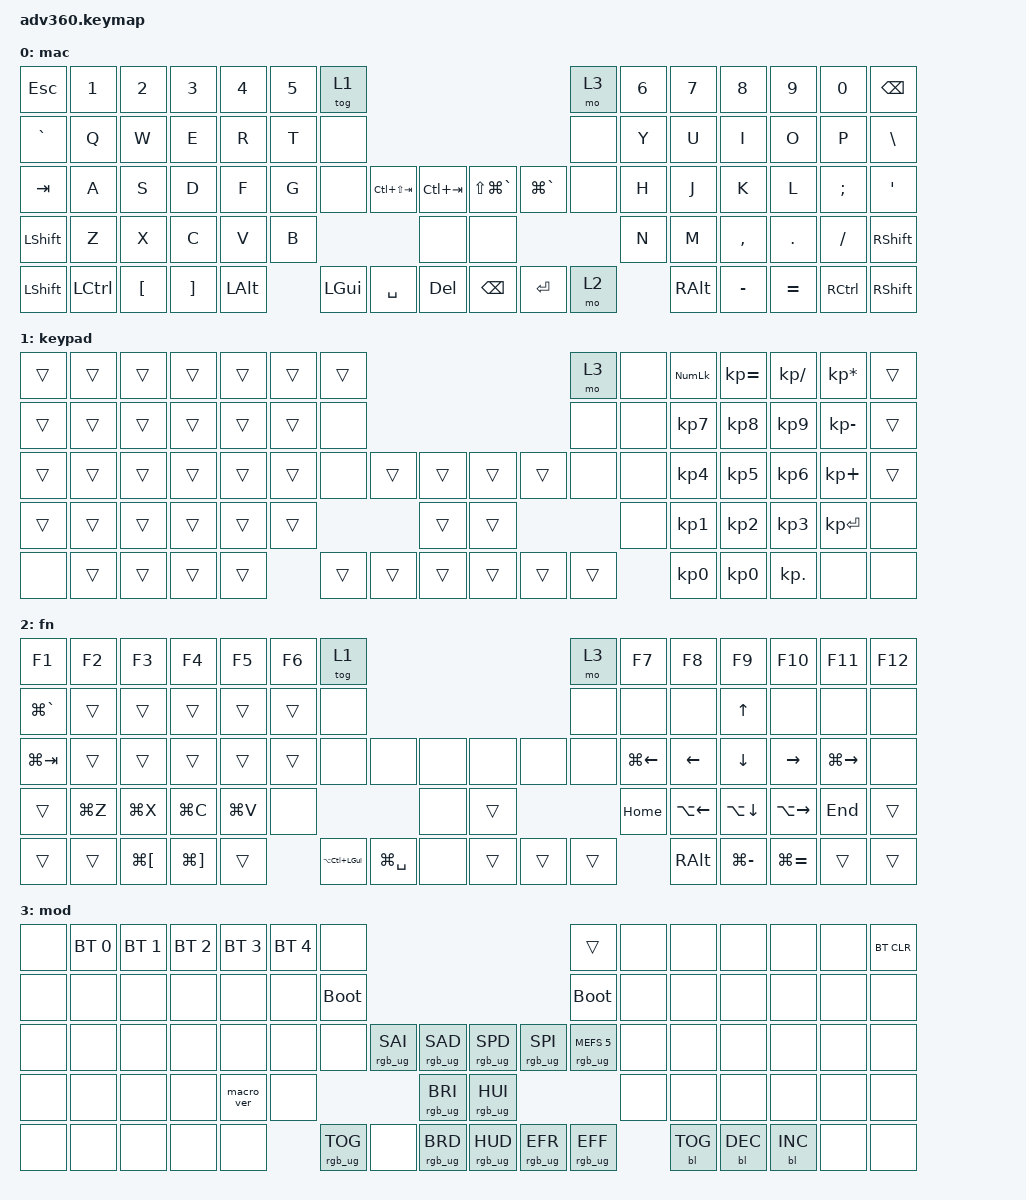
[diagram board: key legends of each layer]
#include <behaviors.dtsi>
#include <dt-bindings/zmk/backlight.h>
#include <dt-bindings/zmk/bt.h>
#include <dt-bindings/zmk/keys.h>
#include <dt-bindings/zmk/rgb.h>

/ {
    behaviors {
        #include "macros.dtsi"
      #include "version.dtsi"
      #ifndef VERSION_MACRO

        macro_ver: macro_ver {
            compatible = "zmk,behavior-macro";
            label = "macro_version";
            #binding-cells = <0>;
            bindings = <&kp RET>;
        };

        #endif

        hm: homerow_mods {
            compatible = "zmk,behavior-hold-tap";
            label = "HOMEROW_MODS";
            #binding-cells = <2>;
            tapping-term-ms = <200>;
            quick_tap_ms = <175>;
            flavor = "tap-preferred";
            bindings = <&kp>, <&kp>;
        };
    };

    macros {
    };

    keymap {
        compatible = "zmk,keymap";

        mac {
            bindings = <
&kp ESCAPE      &kp N1            &kp N2            &kp N3             &kp N4        &kp N5  &tog 1                                                                            &mo 3  &kp N6  &kp N7         &kp N8     &kp N9     &kp N0             &kp BACKSPACE
&kp GRAVE       &kp Q             &kp W             &kp E              &kp R         &kp T   &none                                                                             &none  &kp Y   &kp U          &kp I      &kp O      &kp P              &kp BSLH
&kp TAB         &kp A             &kp S             &kp D              &kp F         &kp G   &none         &kp LC(LS(TAB))  &kp LC(TAB)      &kp LS(LG(GRAVE))  &kp LG(GRAVE)  &none  &kp H   &kp J          &kp K      &kp L      &kp SEMI           &kp SQT
&kp LSHFT       &kp Z             &kp X             &kp C              &kp V         &kp B                                  &none            &none                                    &kp N   &kp M          &kp COMMA  &kp DOT    &kp FSLH           &kp RSHFT
&kp LEFT_SHIFT  &kp LEFT_CONTROL  &kp LEFT_BRACKET  &kp RIGHT_BRACKET  &kp LEFT_ALT          &kp LEFT_GUI  &kp SPACE        &kp DELETE       &kp BACKSPACE      &kp ENTER      &mo 2          &kp RIGHT_ALT  &kp MINUS  &kp EQUAL  &kp RIGHT_CONTROL  &kp RIGHT_SHIFT
            >;
        };

        keypad {
            bindings = <
&trans  &trans  &trans  &trans  &trans  &trans  &trans                                      &mo 3   &none  &kp KP_NUM  &kp KP_EQUAL  &kp KP_DIVIDE  &kp KP_MULTIPLY  &trans
&trans  &trans  &trans  &trans  &trans  &trans  &none                                       &none   &none  &kp KP_N7   &kp KP_N8     &kp KP_N9      &kp KP_MINUS     &trans
&trans  &trans  &trans  &trans  &trans  &trans  &none   &trans  &trans      &trans  &trans  &none   &none  &kp KP_N4   &kp KP_N5     &kp KP_N6      &kp KP_PLUS      &trans
&trans  &trans  &trans  &trans  &trans  &trans                  &trans      &trans                  &none  &kp KP_N1   &kp KP_N2     &kp KP_N3      &kp KP_ENTER     &none
&none   &trans  &trans  &trans  &trans          &trans  &trans  &trans      &trans  &trans  &trans         &kp KP_N0   &kp KP_N0     &kp KP_DOT     &none            &none
            >;
        };

        fn {
            bindings = <
&kp F1         &kp F2     &kp F3                &kp F4                 &kp F5     &kp F6  &tog 1                                                          &mo 3   &kp F7        &kp F8         &kp F9         &kp F10        &kp F11        &kp F12
&kp LG(GRAVE)  &trans     &trans                &trans                 &trans     &trans  &none                                                           &none   &none         &none          &kp UP_ARROW   &none          &none          &none
&kp LG(TAB)    &trans     &trans                &trans                 &trans     &trans  &none                 &none          &none      &none   &none   &none   &kp LG(LEFT)  &kp LEFT       &kp DOWN       &kp RIGHT      &kp LG(RIGHT)  &none
&trans         &kp LG(Z)  &kp LG(X)             &kp LG(C)              &kp LG(V)  &none                                        &none      &trans                  &kp HOME      &kp LA(LEFT)   &kp LA(DOWN)   &kp LA(RIGHT)  &kp END        &trans
&trans         &trans     &kp LG(LEFT_BRACKET)  &kp LG(RIGHT_BRACKET)  &trans             &kp LA(LC(LEFT_GUI))  &kp LG(SPACE)  &none      &trans  &trans  &trans                &kp RIGHT_ALT  &kp LG(MINUS)  &kp LG(EQUAL)  &trans         &trans
            >;
        };

        mod {
            bindings = <
&none  &bt BT_SEL 0  &bt BT_SEL 1  &bt BT_SEL 2  &bt BT_SEL 3  &bt BT_SEL 4  &none                                                                                    &trans                  &none  &none       &none       &none       &none  &bt BT_CLR
&none  &none         &none         &none         &none         &none         &bootloader                                                                              &bootloader             &none  &none       &none       &none       &none  &none
&none  &none         &none         &none         &none         &none         &none            &rgb_ug RGB_SAI  &rgb_ug RGB_SAD      &rgb_ug RGB_SPD  &rgb_ug RGB_SPI  &rgb_ug RGB_MEFS_CMD 5  &none  &none       &none       &none       &none  &none
&none  &none         &none         &none         &macro_ver    &none                                           &rgb_ug RGB_BRI      &rgb_ug RGB_HUI                                           &none  &none       &none       &none       &none  &none
&none  &none         &none         &none         &none                       &rgb_ug RGB_TOG  &none            &rgb_ug RGB_BRD      &rgb_ug RGB_HUD  &rgb_ug RGB_EFR  &rgb_ug RGB_EFF                &bl BL_TOG  &bl BL_DEC  &bl BL_INC  &none  &none
            >;
        };
    };
};
